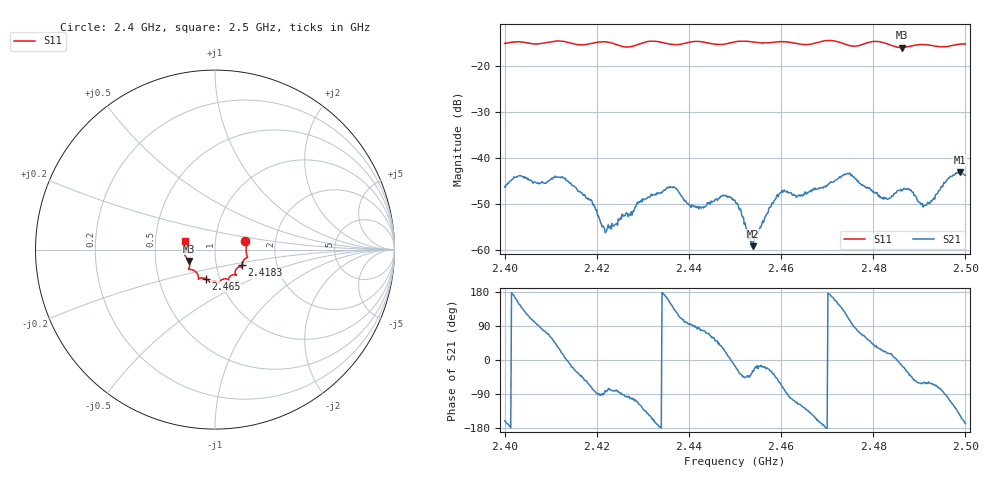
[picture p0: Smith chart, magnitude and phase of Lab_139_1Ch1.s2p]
# Hz S RI R 50
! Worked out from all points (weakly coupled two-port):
!   601 points, 2.4 GHz to 2.5 GHz, reference 50 ohm
!   highest |S21| = -43.00 dB at 2.4988 GHz (marker M1); lowest = -59.1 dB at 2.4538 GHz (marker M2)
!   lowest |S11| = -16.0 dB at 2.4862 GHz (marker M3), VSWR 1.37, Z = 37.1 - j4.82 ohm
!   |S11| at or under -10 dB: start of sweep to end of sweep
!   S12 and S22 are empty: the file has one direction only
!   S11 on the Smith chart (normalised r, x): 2.4 GHz: 1.40, +0.13; 2.4183 GHz: 1.33, -0.24; 2.465 GHz: 0.86, -0.29; 2.5 GHz: 0.71, +0.07
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2.4e9  0.1688 0.0459  -0.00459 -0.00163  0 0  0 0
2.403e9  0.1797 0.0327  -0.00552 0.00322  0 0  0 0
2.407333e9  0.1732 -0.00771  -5.12e-05 0.00539  0 0  0 0
2.412e9  0.1814 -0.0423  0.00554 0.00281  0 0  0 0
2.416667e9  0.1548 -0.068  0.00319 -0.00276  0 0  0 0
2.418333e9  0.1502 -0.0865  0.00148 -0.0032  0 0  0 0
2.422167e9  0.1521 -0.0998  0.000239 -0.00163  0 0  0 0
2.433333e9  0.1167 -0.1412  -0.00406 -0.000567  0 0  0 0
2.436833e9  0.0915 -0.1432  -0.0033 0.00353  0 0  0 0
2.442167e9  0.0738 -0.1686  0.000244 0.0028  0 0  0 0
2.447333e9  0.0405 -0.1663  0.0034 0.00202  0 0  0 0
2.45e9  0.0252 -0.1807  0.00334 -0.000968  0 0  0 0
2.453833e9  0.0151 -0.1814  0.000977 -0.00052  0 0  0 0
2.459667e9  -0.0268 -0.1812  0.0021 -0.00355  0 0  0 0
2.465e9  -0.0527 -0.1621  -0.00235 -0.00324  0 0  0 0
2.466667e9  -0.0712 -0.1576  -0.00363 -0.00274  0 0  0 0
2.4745e9  -0.0982 -0.1361  -0.00258 0.00628  0 0  0 0
2.483333e9  -0.1422 -0.096  0.00343 0.00109  0 0  0 0
2.486167e9  -0.1446 -0.0633  0.00426 -0.00106  0 0  0 0
2.491333e9  -0.1672 -0.0317  0.00147 -0.00271  0 0  0 0
2.498833e9  -0.1674 0.0411  -0.00589 -0.00392  0 0  0 0
2.5e9  -0.1666 0.047  -0.00633 -0.00136  0 0  0 0
